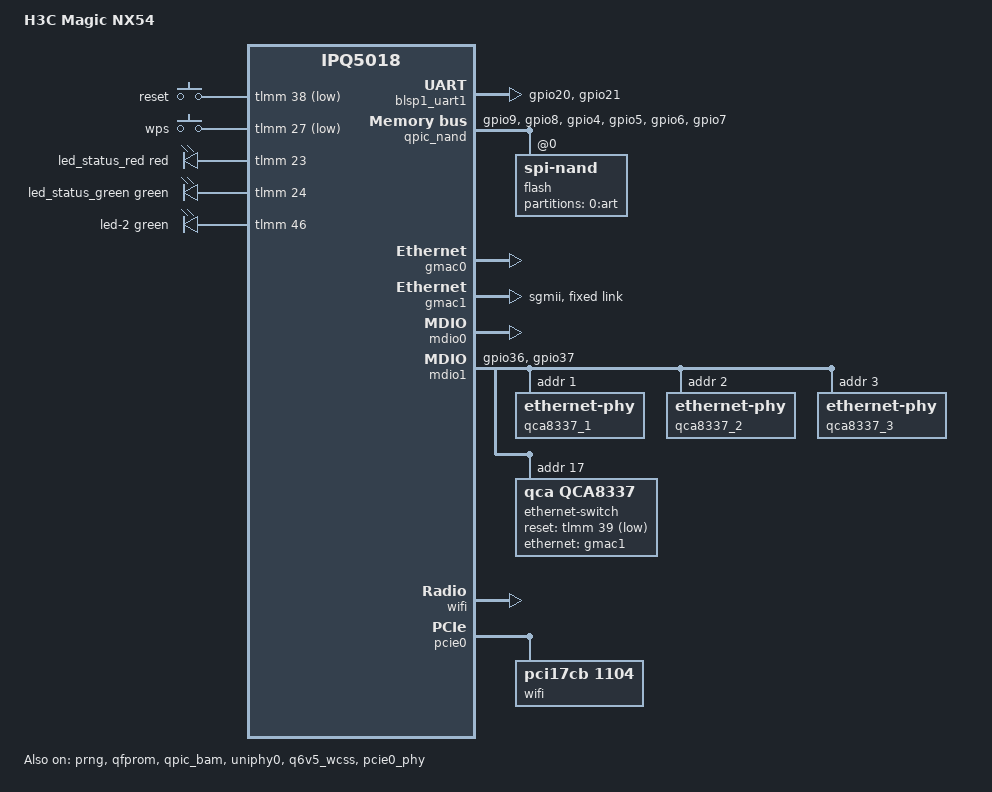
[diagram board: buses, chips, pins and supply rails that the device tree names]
// SPDX-License-Identifier: GPL-2.0-or-later OR MIT
/*
 * H3C Magic NX54: the RC3000 v2 board layout (IPQ5018, QCA8337, booted by
 * the stock firmware as AP-MP03.1) with 512 MiB of RAM and a QCN9074 on
 * PCIe0 for 5 GHz instead of the QCN6122.
 */

/dts-v1/;

#include "ipq5018.dtsi"
#include "ipq5018-ess.dtsi"
#include "ipq5018-qcn6122.dtsi"
#include "ipq5018-nss.dtsi"

#include <dt-bindings/gpio/gpio.h>
#include <dt-bindings/input/input.h>
#include <dt-bindings/leds/common.h>

/ {
	model = "H3C Magic NX54";
	compatible = "h3c,magic-nx54", "qcom,ipq5018";

	aliases {
		serial0 = &blsp1_uart1;
		label-mac-device = &gmac0;
		led-boot = &led_status_green;
		led-failsafe = &led_status_red;
		led-running = &led_status_green;
		led-upgrade = &led_status_red;
	};

	chosen {
		bootargs-append = " root=/dev/ubiblock0_1 swiotlb=1 coherent_pool=2M";
		stdout-path = "serial0:115200n8";
	};

	keys {
		compatible = "gpio-keys";
		pinctrl-0 = <&button_pins>;
		pinctrl-names = "default";

		/* NX54 swaps the HW-A pins: RESET GPIO38, MESH GPIO27 */
		button-reset {
			label = "reset";
			gpios = <&tlmm 38 GPIO_ACTIVE_LOW>;
			linux,code = <KEY_RESTART>;
		};

		button-wps {
			label = "wps";
			gpios = <&tlmm 27 GPIO_ACTIVE_LOW>;
			linux,code = <KEY_WPS_BUTTON>;
		};
	};

	leds {
		compatible = "gpio-leds";
		pinctrl-0 = <&led_pins>;
		pinctrl-names = "default";

		led_status_red: led-0 {
			color = <LED_COLOR_ID_RED>;
			function = LED_FUNCTION_STATUS;
			gpios = <&tlmm 23 GPIO_ACTIVE_HIGH>;
		};

		led_status_green: led-1 {
			color = <LED_COLOR_ID_GREEN>;
			function = LED_FUNCTION_STATUS;
			gpios = <&tlmm 24 GPIO_ACTIVE_HIGH>;
		};

		led-2 {
			color = <LED_COLOR_ID_GREEN>;
			function = LED_FUNCTION_WAN;
			gpios = <&tlmm 46 GPIO_ACTIVE_HIGH>;
		};
	};
};

/* the stock TZ takes 4 MiB here (upstream reserves 2 MiB) */
&tz_region {
	reg = <0x0 0x4ac00000 0x0 0x400000>;
};

&sleep_clk {
	clock-frequency = <32000>;
};

&xo_board_clk {
	clock-div = <4>;
	clock-mult = <1>;
};

&blsp1_uart1 {
	status = "okay";

	pinctrl-0 = <&serial_0_pins>;
	pinctrl-names = "default";
};

&prng {
	status = "okay";
};

&qfprom {
	status = "okay";
};

&qpic_bam {
	status = "okay";
};

&qpic_nand {
	pinctrl-0 = <&qpic_pins>;
	pinctrl-names = "default";
	status = "okay";

	flash@0 {
		compatible = "spi-nand";
		reg = <0>;
		nand-ecc-engine = <&qpic_nand>;
		nand-bus-width = <8>;

		partitions {
			compatible = "qcom,smem-part";

			partition-0-art {
				label = "0:art";
				read-only;
			};
		};
	};
};

&uniphy0 {
	status = "okay";

	assigned-clocks = <&uniphy0 UNIPHY_CLK_REF>;
	assigned-clock-rates = <UNIPHY_REFCLK_25MHZ>;
};

/* MAC0 -> IPQ5018 GE PHY (WAN) */
&gmac0 {
	status = "okay";

	label = "wan";
};

/* MAC1 ---SGMII---> QCA8337 port 6 (LAN) */
&gmac1 {
	status = "okay";

	phy-mode = "sgmii";

	fixed-link {
		speed = <1000>;
		full-duplex;
	};
};

&mdio0 {
	status = "okay";
};

&mdio1 {
	status = "okay";

	pinctrl-0 = <&mdio1_pins>;
	pinctrl-names = "default";
	/* the default MDIO rate is unreliable on this board */
	clock-frequency = <1562500>;

	qca8337_1: ethernet-phy@1 {
		reg = <1>;
	};

	qca8337_2: ethernet-phy@2 {
		reg = <2>;
	};

	qca8337_3: ethernet-phy@3 {
		reg = <3>;
	};

	ethernet-switch@11 {
		compatible = "qca,qca8337";
		reg = <0x11>;
		reset-gpios = <&tlmm 39 GPIO_ACTIVE_LOW>;
		#address-cells = <1>;
		#size-cells = <0>;

		ethernet-ports {
			#address-cells = <1>;
			#size-cells = <0>;

			/* front panel order differs from HW-A: port2 = LAN3, port3 = LAN1, port4 = LAN2 */
			ethernet-port@2 {
				reg = <2>;
				label = "lan3";
				phy-handle = <&qca8337_1>;
			};

			ethernet-port@3 {
				reg = <3>;
				label = "lan1";
				phy-handle = <&qca8337_2>;
			};

			ethernet-port@4 {
				reg = <4>;
				label = "lan2";
				phy-handle = <&qca8337_3>;
			};

			ethernet-port@6 {
				reg = <6>;
				phy-mode = "sgmii";
				ethernet = <&gmac1>;
				qca,sgmii-enable-pll;

				fixed-link {
					speed = <1000>;
					full-duplex;
				};
			};
		};
	};
};

&tlmm {
	button_pins: button-state {
		pins = "gpio27", "gpio38";
		function = "gpio";
		drive-strength = <8>;
		bias-pull-up;
	};

	led_pins: led-state {
		pins = "gpio23", "gpio24", "gpio46";
		function = "gpio";
		drive-strength = <8>;
		bias-disable;
	};

	mdio1_pins: mdio-state {
		mdc-pins {
			pins = "gpio36";
			function = "mdc";
			drive-strength = <8>;
			bias-pull-up;
		};

		mdio-pins {
			pins = "gpio37";
			function = "mdio";
			drive-strength = <8>;
			bias-pull-up;
		};
	};

	qpic_pins: qpic-state {
		clock-pins {
			pins = "gpio9";
			function = "qspi_clk";
			drive-strength = <8>;
			bias-disable;
		};

		cs-pins {
			pins = "gpio8";
			function = "qspi_cs";
			drive-strength = <8>;
			bias-disable;
		};

		data-pins {
			pins = "gpio4", "gpio5", "gpio6", "gpio7";
			function = "qspi_data";
			drive-strength = <8>;
			bias-disable;
		};
	};

	serial_0_pins: uart0-state {
		pins = "gpio20", "gpio21";
		function = "blsp0_uart0";
		drive-strength = <8>;
		bias-disable;
	};
};

&q6v5_wcss {
	status = "okay";
};

/* 2.4 GHz: the integrated radio. No QCN6122 on this board: the multi-PD
 * image runs with only user PD 1 started (see ipq5018-qcn6122.dtsi). */
&wifi {
	status = "okay";

	qcom,rproc = <&q6v5_wcss>;
	qcom,calibration-variant = "H3C-Magic-NX54";
	qcom,ath11k-fw-memory-mode = <1>;

	ieee80211-freq-limit = <2400000 2483000>;
};

&pcie0_phy {
	status = "okay";
};

/* 5 GHz: QCN9074 on PCIe0, PERST on GPIO15 (stock drives it as output). */
&pcie0 {
	status = "okay";

	perst-gpios = <&tlmm 15 GPIO_ACTIVE_LOW>;

	pcie@0 {
		wifi@0,0 {
			status = "okay";

			/* QCN9074: ath11k lacks DT compatible for PCI cards */
			compatible = "pci17cb,1104";
			reg = <0x00010000 0 0 0 0>;

			qcom,calibration-variant = "H3C-Magic-NX54";
			/* 512 MiB of RAM: the full-memory firmware mode; the H3C
			 * kernel's 256M profile would pick mode 2. */
			qcom,ath11k-fw-memory-mode = <0>;
		};
	};
};
